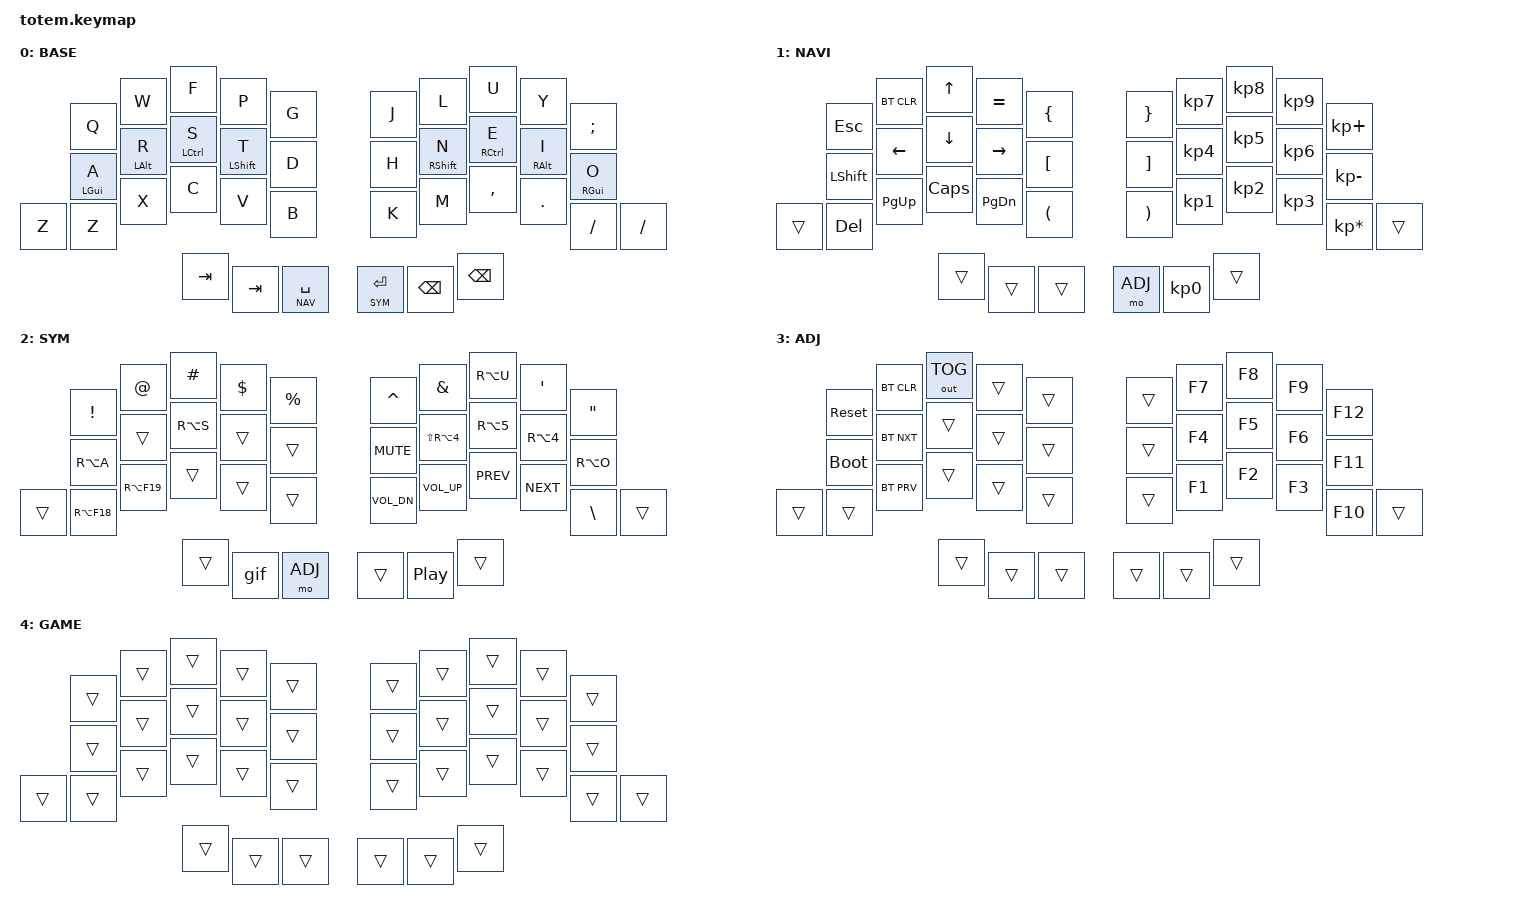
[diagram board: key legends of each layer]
//
//                                                        ▀▀▀▀▀     ▀▀▀▀▀          ▀▀█▀▀
//                                                        ▄▀▀▀▄  ▄  ▄▀▀▀▄  ▄  ▄▀▀▀▄  █  ▄▀▀▀▄
//                                                        █   █  █  █   █  █  █   █  █  █   █
//                                                         ▀▀▀   █   ▀▀▀   █   ▀▀▀   ▀   ▀▀▀
//                                                               █      ▄▄▄█▄▄▄    █   █  
//                                                               ▀      █  █  █     █▄█
//                                                             ▀▀▀▀▀    █  █  █      ▀
//                                                                      ▀  ▀  ▀
//
// ▄▄▄▄▄▄▄▄▄▄▄▄▄▄▄▄▄▄▄▄▄▄▄▄▄▄▄▄▄▄▄▄▄▄▄▄▄▄▄▄▄▄▄▄▄▄▄▄▄▄▄▄▄▄▄▄▄▄▄▄▄▄▄▄▄▄▄▄▄▄▄▄▄▄▄▄▄▄▄▄▄▄▄▄▄▄▄▄▄▄▄▄▄▄▄▄▄▄▄▄▄▄▄▄▄▄▄▄▄▄▄▄▄▄▄▄▄▄▄▄▄▄▄▄▄▄▄▄▄▄▄▄▄▄▄▄▄▄▄▄▄▄▄▄▄▄▄▄▄
       

#include <behaviors.dtsi>
#include <dt-bindings/zmk/keys.h>
#include <dt-bindings/zmk/bt.h>
#include <dt-bindings/zmk/outputs.h>

#define BASE 0
#define NAV  1
#define SYM  2
#define ADJ  3
#define GAME 4

&mt {
    flavor = "tap-preferred";
    tapping-term-ms = <170>;
    quick-tap-ms = <200>;
    require-prior-idle-ms = <125>;
};

&lt {
    flavor = "tap-preferred";
    tapping-term-ms = <200>;
    quick-tap-ms = <200>;
    require-prior-idle-ms = <125>;
};

/ {
    combos {
            compatible = "zmk,combos";
            combo_esc {
                timeout-ms = <50>;
                key-positions = <0 1>;
                bindings = <&kp ESC>;
            };
    };

    macros {
        gif: gif {
            label = "giphy";
            compatible = "zmk,behavior-macro";
            #binding-cells = <0>;
            bindings
                = <&macro_press &kp LSHFT>
                , <&macro_tap &kp N2>
                , <&macro_release &kp LSHFT>
                , <&macro_tap &kp G &kp I &kp F>
                ;
        };
    };

        keymap {
                compatible = "zmk,keymap";
// ▄▄▄▄▄▄▄▄▄▄▄▄▄▄▄▄▄▄▄▄▄▄▄▄▄▄▄▄▄▄▄▄▄▄▄▄▄▄▄▄▄▄▄▄▄▄▄▄▄▄▄▄▄▄▄▄▄▄▄▄▄▄▄▄▄▄▄▄▄▄▄▄▄▄▄▄▄▄▄▄▄▄▄▄▄▄▄▄▄▄▄▄▄▄▄▄▄▄▄▄▄▄▄▄▄▄▄▄▄▄▄▄▄▄▄▄▄▄▄▄▄▄▄▄▄▄▄▄▄▄▄▄▄▄▄▄▄▄▄▄▄▄▄▄▄▄▄▄▄

                base_layer {
// ┏━━━━━━━━━━━━━━━━━━━━━━━━━━━━━━━━━━━━━━━┓
label= "BASE"                              ;
// ┗━━━━━━━━━━━━━━━━━━━━━━━━━━━━━━━━━━━━━━━┛
//             ┏━━━━━━━━━━━┳━━━━━━━━━━━┳━━━━━━━━━━━┳━━━━━━━━━━━┳━━━━━━━━━━━┓   ┏━━━━━━━━━━━┳━━━━━━━━━━━┳━━━━━━━━━━━┳━━━━━━━━━━━┳━━━━━━━━━━━┓
//             ┃     Q     ┃     W     ┃     F     ┃     P     ┃     G     ┃   ┃     J     ┃     L     ┃     U     ┃     Y     ┃     ;     ┃
//             ┣━━━━━━━━━━━╋━━━━━━━━━━━╋━━━━━━━━━━━╋━━━━━━━━━━━╋━━━━━━━━━━━┫   ┣━━━━━━━━━━━╋━━━━━━━━━━━╋━━━━━━━━━━━╋━━━━━━━━━━━╋━━━━━━━━━━━┫
//             ┃     A     ┃     R     ┃     S     ┃     T     ┃     D     ┃   ┃     H     ┃     N     ┃     E     ┃     I     ┃     O     ┃
// ┏━━━━━━━━━━━╋━━━━━━━━━━━╋━━━━━━━━━━━╋━━━━━━━━━━━╋━━━━━━━━━━━╋━━━━━━━━━━━┫   ┣━━━━━━━━━━━╋━━━━━━━━━━━╋━━━━━━━━━━━╋━━━━━━━━━━━╋━━━━━━━━━━━╋━━━━━━━━━━━┓
// ┃           ┃     Z     ┃     X     ┃     C     ┃     V     ┃     B     ┃   ┃     K     ┃     M     ┃     ,     ┃     .     ┃     /     ┃           ┃
// ┗━━━━━━━━━━━┻━━━━━━━━━━━┻━━━━━━━━━━━╋━━━━━━━━━━━╋━━━━━━━━━━━╋━━━━━━━━━━━┫   ┣━━━━━━━━━━━╋━━━━━━━━━━━╋━━━━━━━━━━━╋━━━━━━━━━━━┻━━━━━━━━━━━┻━━━━━━━━━━━┛
//                                     ┃           ┃    TAB    ┃    SPC    ┃   ┃   ENTER   ┃   BSPC    ┃           ┃
//                                     ┗━━━━━━━━━━━┻━━━━━━━━━━━┻━━━━━━━━━━━┛   ┗━━━━━━━━━━━┻━━━━━━━━━━━┻━━━━━━━━━━━┛
 bindings = <
// ╷           ╷           ╷           ╷           ╷           ╷           ╷   ╷           ╷           ╷           ╷           ╷           ╷           ╷

                &kp Q       &kp W       &kp F       &kp P       &kp G           &kp J       &kp L       &kp U       &kp Y       &kp SEMI
                &mt LGUI A  &mt LALT R  &mt LCTRL S &mt LSHFT T &kp D           &kp H       &mt RSHFT N &mt RCTRL E &mt RALT I  &mt RGUI O
    &kp Z       &kp Z       &kp X       &kp C       &kp V       &kp B           &kp K       &kp M       &kp COMMA   &kp DOT     &kp FSLH    &kp FSLH
                                        &kp TAB     &kp TAB     &lt NAV SPACE   &lt SYM RET &kp BSPC    &kp BSPC
                        >;
                };

// ▄▄▄▄▄▄▄▄▄▄▄▄▄▄▄▄▄▄▄▄▄▄▄▄▄▄▄▄▄▄▄▄▄▄▄▄▄▄▄▄▄▄▄▄▄▄▄▄▄▄▄▄▄▄▄▄▄▄▄▄▄▄▄▄▄▄▄▄▄▄▄▄▄▄▄▄▄▄▄▄▄▄▄▄▄▄▄▄▄▄▄▄▄▄▄▄▄▄▄▄▄▄▄▄▄▄▄▄▄▄▄▄▄▄▄▄▄▄▄▄▄▄▄▄▄▄▄▄▄▄▄▄▄▄▄▄▄▄▄▄▄▄▄▄▄▄▄▄▄


                nav_layer {
// ┏━━━━━━━━━━━━━━━━━━━━━━━━━━━━━━━━━━━━━━━┓
label= "NAVI"                              ;
// ┗━━━━━━━━━━━━━━━━━━━━━━━━━━━━━━━━━━━━━━━┛
//             ┏━━━━━━━━━━━┳━━━━━━━━━━━┳━━━━━━━━━━━┳━━━━━━━━━━━┳━━━━━━━━━━━┓   ┏━━━━━━━━━━━┳━━━━━━━━━━━┳━━━━━━━━━━━┳━━━━━━━━━━━┳━━━━━━━━━━━┓
//             ┃           ┃           ┃     UP    ┃           ┃     {     ┃   ┃     }     ┃     7     ┃     8     ┃     9     ┃     +     ┃
//             ┣━━━━━━━━━━━╋━━━━━━━━━━━╋━━━━━━━━━━━╋━━━━━━━━━━━╋━━━━━━━━━━━┫   ┣━━━━━━━━━━━╋━━━━━━━━━━━╋━━━━━━━━━━━╋━━━━━━━━━━━╋━━━━━━━━━━━┫
//             ┃   SHIFT   ┃   LEFT    ┃    DOWN   ┃   RIGHT   ┃     [     ┃   ┃     ]     ┃     4     ┃     5     ┃     6     ┃     -     ┃
// ┏━━━━━━━━━━━╋━━━━━━━━━━━╋━━━━━━━━━━━╋━━━━━━━━━━━╋━━━━━━━━━━━╋━━━━━━━━━━━┫   ┣━━━━━━━━━━━╋━━━━━━━━━━━╋━━━━━━━━━━━╋━━━━━━━━━━━╋━━━━━━━━━━━╋━━━━━━━━━━━┓
// ┃           ┃           ┃   P UP    ┃  C LOCK   ┃  P DOWN   ┃     (     ┃   ┃     )     ┃     1     ┃     2     ┃     3     ┃     *     ┃           ┃
// ┗━━━━━━━━━━━┻━━━━━━━━━━━┻━━━━━━━━━━━╋━━━━━━━━━━━╋━━━━━━━━━━━╋━━━━━━━━━━━┫   ┣━━━━━━━━━━━╋━━━━━━━━━━━╋━━━━━━━━━━━╋━━━━━━━━━━━┻━━━━━━━━━━━┻━━━━━━━━━━━┛
//                                     ┃           ┃    TAB    ┃    SPC    ┃   ┃    DEL    ┃     0     ┃           ┃
//                                     ┗━━━━━━━━━━━┻━━━━━━━━━━━┻━━━━━━━━━━━┛   ┗━━━━━━━━━━━┻━━━━━━━━━━━┻━━━━━━━━━━━┛
 bindings = <
// ╷           ╷           ╷           ╷           ╷           ╷           ╷   ╷           ╷           ╷           ╷           ╷           ╷           ╷

                &kp ESC     &bt BT_CLR  &kp UP      &kp EQUAL   &kp LBRC        &kp RBRC    &kp KP_N7   &kp KP_N8   &kp KP_N9   &kp KP_PLUS
                &kp LSHFT   &kp LEFT    &kp DOWN    &kp RIGHT   &kp LBKT        &kp RBKT    &kp KP_N4   &kp KP_N5   &kp KP_N6   &kp KP_MINUS
    &trans      &kp DEL     &kp PG_UP   &kp CAPS    &kp PG_DN   &kp LPAR        &kp RPAR    &kp KP_N1   &kp KP_N2   &kp KP_N3   &kp KP_MULTIPLY &trans      
                                        &trans      &trans      &trans          &mo ADJ     &kp KP_N0   &trans      
                        >;
                };

// ▄▄▄▄▄▄▄▄▄▄▄▄▄▄▄▄▄▄▄▄▄▄▄▄▄▄▄▄▄▄▄▄▄▄▄▄▄▄▄▄▄▄▄▄▄▄▄▄▄▄▄▄▄▄▄▄▄▄▄▄▄▄▄▄▄▄▄▄▄▄▄▄▄▄▄▄▄▄▄▄▄▄▄▄▄▄▄▄▄▄▄▄▄▄▄▄▄▄▄▄▄▄▄▄▄▄▄▄▄▄▄▄▄▄▄▄▄▄▄▄▄▄▄▄▄▄▄▄▄▄▄▄▄▄▄▄▄▄▄▄▄▄▄▄▄▄▄▄▄


                sim_layer {
// ┏━━━━━━━━━━━━━━━━━━━━━━━━━━━━━━━━━━━━━━━┓
label= "SYM"                               ;
// ┗━━━━━━━━━━━━━━━━━━━━━━━━━━━━━━━━━━━━━━━┛
//             ┏━━━━━━━━━━━┳━━━━━━━━━━━┳━━━━━━━━━━━┳━━━━━━━━━━━┳━━━━━━━━━━━┓   ┏━━━━━━━━━━━┳━━━━━━━━━━━┳━━━━━━━━━━━┳━━━━━━━━━━━┳━━━━━━━━━━━┓
//             ┃     !     ┃     @     ┃     #     ┃     $     ┃     %     ┃   ┃     ˆ     ┃     &     ┃     Ü     ┃     '     ┃     "     ┃
//             ┣━━━━━━━━━━━╋━━━━━━━━━━━╋━━━━━━━━━━━╋━━━━━━━━━━━╋━━━━━━━━━━━┫   ┣━━━━━━━━━━━╋━━━━━━━━━━━╋━━━━━━━━━━━╋━━━━━━━━━━━╋━━━━━━━━━━━┫
//             ┃     Ä     ┃           ┃    SZ     ┃           ┃           ┃   ┃   MUTE    ┃   YEN     ┃   EURO    ┃  POUND    ┃     Ö     ┃
// ┏━━━━━━━━━━━╋━━━━━━━━━━━╋━━━━━━━━━━━╋━━━━━━━━━━━╋━━━━━━━━━━━╋━━━━━━━━━━━┫   ┣━━━━━━━━━━━╋━━━━━━━━━━━╋━━━━━━━━━━━╋━━━━━━━━━━━╋━━━━━━━━━━━╋━━━━━━━━━━━┓
// ┃           ┃  EMAIL1   ┃  EMAIL2   ┃           ┃           ┃           ┃   ┃   VOL-    ┃   VOL+    ┃   LAST    ┃   NEXT    ┃     \     ┃           ┃
// ┗━━━━━━━━━━━┻━━━━━━━━━━━┻━━━━━━━━━━━╋━━━━━━━━━━━╋━━━━━━━━━━━╋━━━━━━━━━━━┫   ┣━━━━━━━━━━━╋━━━━━━━━━━━╋━━━━━━━━━━━╋━━━━━━━━━━━┻━━━━━━━━━━━┻━━━━━━━━━━━┛
//                                     ┃           ┃    GIF    ┃    ADJ    ┃   ┃           ┃           ┃           ┃
//                                     ┗━━━━━━━━━━━┻━━━━━━━━━━━┻━━━━━━━━━━━┛   ┗━━━━━━━━━━━┻━━━━━━━━━━━┻━━━━━━━━━━━┛
 bindings = <
// ╷           ╷           ╷           ╷           ╷           ╷           ╷   ╷           ╷           ╷           ╷           ╷           ╷           ╷

                &kp EXCL    &kp AT      &kp HASH    &kp DLLR    &kp PRCNT       &kp CARET   &kp AMPS    &kp RA(U)   &kp SQT     &kp DQT       
                &kp RA(A)   &trans      &kp RA(S)   &trans      &trans          &kp C_MUTE  &kp LS(RA(N4)) &kp RA(N5) &kp RA(N4)   &kp RA(O) 
    &trans      &kp RA(F18) &kp RA(F19) &trans      &trans      &trans          &kp C_VOL_DN &kp C_VOL_UP &kp C_PREV &kp C_NEXT  &kp BSLH   &trans         
                                        &trans      &gif        &mo ADJ         &trans      &kp C_PP    &trans      
                        >;
                };

// ▄▄▄▄▄▄▄▄▄▄▄▄▄▄▄▄▄▄▄▄▄▄▄▄▄▄▄▄▄▄▄▄▄▄▄▄▄▄▄▄▄▄▄▄▄▄▄▄▄▄▄▄▄▄▄▄▄▄▄▄▄▄▄▄▄▄▄▄▄▄▄▄▄▄▄▄▄▄▄▄▄▄▄▄▄▄▄▄▄▄▄▄▄▄▄▄▄▄▄▄▄▄▄▄▄▄▄▄▄▄▄▄▄▄▄▄▄▄▄▄▄▄▄▄▄▄▄▄▄▄▄▄▄▄▄▄▄▄▄▄▄▄▄▄▄▄▄▄▄


                adjust_layer {
// ┏━━━━━━━━━━━━━━━━━━━━━━━━━━━━━━━━━━━━━━━┓
label= "ADJ"                               ;
// ┗━━━━━━━━━━━━━━━━━━━━━━━━━━━━━━━━━━━━━━━┛
//             ┏━━━━━━━━━━━┳━━━━━━━━━━━┳━━━━━━━━━━━┳━━━━━━━━━━━┳━━━━━━━━━━━┓   ┏━━━━━━━━━━━┳━━━━━━━━━━━┳━━━━━━━━━━━┳━━━━━━━━━━━┳━━━━━━━━━━━┓
//             ┃   RESET   ┃ BT CLEAR  ┃  OUT TOG  ┃           ┃           ┃   ┃           ┃    F7     ┃    F8     ┃    F9     ┃    F12    ┃
//             ┣━━━━━━━━━━━╋━━━━━━━━━━━╋━━━━━━━━━━━╋━━━━━━━━━━━╋━━━━━━━━━━━┫   ┣━━━━━━━━━━━╋━━━━━━━━━━━╋━━━━━━━━━━━╋━━━━━━━━━━━╋━━━━━━━━━━━┫
//             ┃ BOOTLOAD  ┃ BT NEXT   ┃           ┃           ┃           ┃   ┃           ┃    F4     ┃    F5     ┃    F6     ┃    F11    ┃
// ┏━━━━━━━━━━━╋━━━━━━━━━━━╋━━━━━━━━━━━╋━━━━━━━━━━━╋━━━━━━━━━━━╋━━━━━━━━━━━┫   ┣━━━━━━━━━━━╋━━━━━━━━━━━╋━━━━━━━━━━━╋━━━━━━━━━━━╋━━━━━━━━━━━╋━━━━━━━━━━━┓
// ┃           ┃           ┃ BT PREV   ┃           ┃           ┃           ┃   ┃           ┃    F1     ┃    F2     ┃    F3     ┃    F10    ┃           ┃
// ┗━━━━━━━━━━━┻━━━━━━━━━━━┻━━━━━━━━━━━╋━━━━━━━━━━━╋━━━━━━━━━━━╋━━━━━━━━━━━┫   ┣━━━━━━━━━━━╋━━━━━━━━━━━╋━━━━━━━━━━━╋━━━━━━━━━━━┻━━━━━━━━━━━┻━━━━━━━━━━━┛
//                                     ┃           ┃           ┃           ┃   ┃           ┃           ┃           ┃
//                                     ┗━━━━━━━━━━━┻━━━━━━━━━━━┻━━━━━━━━━━━┛   ┗━━━━━━━━━━━┻━━━━━━━━━━━┻━━━━━━━━━━━┛
 bindings = <
// ╷           ╷           ╷           ╷           ╷           ╷           ╷   ╷           ╷           ╷           ╷           ╷           ╷           ╷

                &sys_reset  &bt BT_CLR &out OUT_TOG &trans      &trans          &trans      &kp F7      &kp F8      &kp F9      &kp F12
                &bootloader &bt BT_NXT  &trans      &trans      &trans          &trans      &kp F4      &kp F5      &kp F6      &kp F11  
    &trans      &trans      &bt BT_PRV  &trans      &trans      &trans          &trans      &kp F1      &kp F2      &kp F3      &kp F10     &trans         
                                        &trans      &trans      &trans          &trans      &trans      &trans      
                        >;
                };
                // ▄▄▄▄▄▄▄▄▄▄▄▄▄▄▄▄▄▄▄▄▄▄▄▄▄▄▄▄▄▄▄▄▄▄▄▄▄▄▄▄▄▄▄▄▄▄▄▄▄▄▄▄▄▄▄▄▄▄▄▄▄▄▄▄▄▄▄▄▄▄▄▄▄▄▄▄▄▄▄▄▄▄▄▄▄▄▄▄▄▄▄▄▄▄▄▄▄▄▄▄▄▄▄▄▄▄▄▄▄▄▄▄▄▄▄▄▄▄▄▄▄▄▄▄▄▄▄▄▄▄▄▄▄▄▄▄▄▄▄▄▄▄▄▄▄▄▄▄▄


                game_layer {
// ┏━━━━━━━━━━━━━━━━━━━━━━━━━━━━━━━━━━━━━━━┓
label= "GAME"                               ;
// ┗━━━━━━━━━━━━━━━━━━━━━━━━━━━━━━━━━━━━━━━┛
//             ┏━━━━━━━━━━━┳━━━━━━━━━━━┳━━━━━━━━━━━┳━━━━━━━━━━━┳━━━━━━━━━━━┓   ┏━━━━━━━━━━━┳━━━━━━━━━━━┳━━━━━━━━━━━┳━━━━━━━━━━━┳━━━━━━━━━━━┓
//             ┃           ┃           ┃           ┃           ┃           ┃   ┃           ┃           ┃           ┃           ┃           ┃
//             ┣━━━━━━━━━━━╋━━━━━━━━━━━╋━━━━━━━━━━━╋━━━━━━━━━━━╋━━━━━━━━━━━┫   ┣━━━━━━━━━━━╋━━━━━━━━━━━╋━━━━━━━━━━━╋━━━━━━━━━━━╋━━━━━━━━━━━┫
//             ┃           ┃           ┃           ┃           ┃           ┃   ┃           ┃           ┃           ┃           ┃           ┃
// ┏━━━━━━━━━━━╋━━━━━━━━━━━╋━━━━━━━━━━━╋━━━━━━━━━━━╋━━━━━━━━━━━╋━━━━━━━━━━━┫   ┣━━━━━━━━━━━╋━━━━━━━━━━━╋━━━━━━━━━━━╋━━━━━━━━━━━╋━━━━━━━━━━━╋━━━━━━━━━━━┓
// ┃           ┃           ┃           ┃           ┃           ┃           ┃   ┃           ┃           ┃           ┃           ┃           ┃           ┃
// ┗━━━━━━━━━━━┻━━━━━━━━━━━┻━━━━━━━━━━━╋━━━━━━━━━━━╋━━━━━━━━━━━╋━━━━━━━━━━━┫   ┣━━━━━━━━━━━╋━━━━━━━━━━━╋━━━━━━━━━━━╋━━━━━━━━━━━┻━━━━━━━━━━━┻━━━━━━━━━━━┛
//                                     ┃           ┃           ┃           ┃   ┃           ┃           ┃           ┃
//                                     ┗━━━━━━━━━━━┻━━━━━━━━━━━┻━━━━━━━━━━━┛   ┗━━━━━━━━━━━┻━━━━━━━━━━━┻━━━━━━━━━━━┛
 bindings = <
// ╷           ╷           ╷           ╷           ╷           ╷           ╷   ╷           ╷           ╷           ╷           ╷           ╷           ╷

                &trans      &trans      &trans      &trans      &trans          &trans      &trans      &trans      &trans      &trans
                &trans      &trans      &trans      &trans      &trans          &trans      &trans      &trans      &trans      &trans  
    &trans      &trans      &trans      &trans      &trans      &trans          &trans      &trans      &trans      &trans      &trans     &trans         
                                        &trans      &trans      &trans          &trans      &trans      &trans      
                        >;
                };
};
